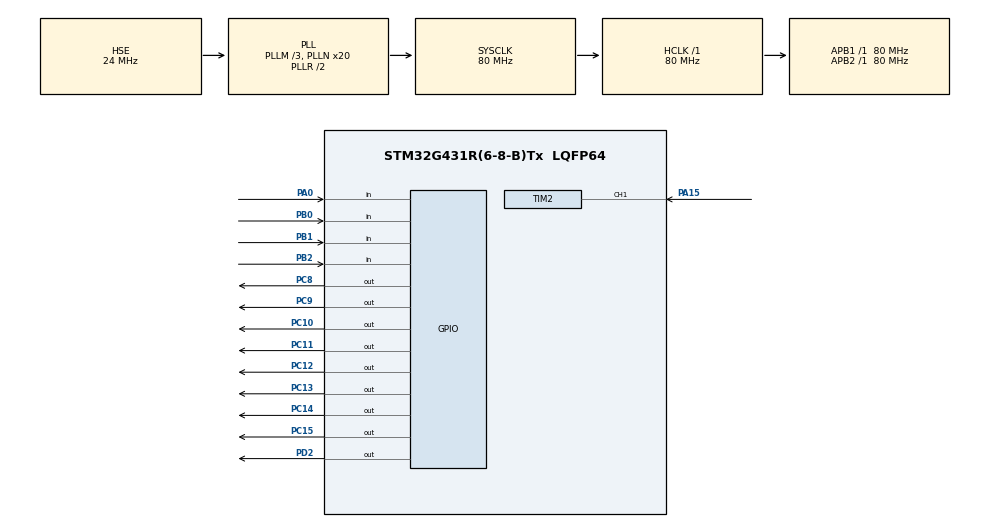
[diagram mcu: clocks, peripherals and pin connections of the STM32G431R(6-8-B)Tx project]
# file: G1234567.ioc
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Mcu.Family=STM32G4
Mcu.Name=STM32G431R(6-8-B)Tx
Mcu.Package=LQFP64
NVIC.PriorityGroup=NVIC_PRIORITYGROUP_4
NVIC.TIM1_TRG_COM_TIM17_IRQn=true\:0\:0\:false\:false\:true\:true\:true
NVIC.TIM2_IRQn=true\:0\:0\:false\:false\:true\:true\:true
PA0.Signal=GPIO_Input
PA15.Signal=S_TIM2_CH1
PB0.Signal=GPIO_Input
PB1.Signal=GPIO_Input
PB2.Signal=GPIO_Input
PC10.Signal=GPIO_Output
PC11.Signal=GPIO_Output
PC12.Signal=GPIO_Output
PC13.Signal=GPIO_Output
PC14-OSC32_IN.Signal=GPIO_Output
PC15-OSC32_OUT.Signal=GPIO_Output
PC8.Signal=GPIO_Output
PC9.Signal=GPIO_Output
PD2.Signal=GPIO_Output
PF0-OSC_IN.Mode=HSE-External-Oscillator
PF0-OSC_IN.Signal=RCC_OSC_IN
PF1-OSC_OUT.Mode=HSE-External-Oscillator
PF1-OSC_OUT.Signal=RCC_OSC_OUT
ProjectManager.HeapSize=0x200
ProjectManager.StackSize=0x400
ProjectManager.TargetToolchain=MDK-ARM V5.27
RCC.ADC12Freq_Value=80000000
RCC.AHBFreq_Value=80000000
RCC.APB1Freq_Value=80000000
RCC.APB1TimFreq_Value=80000000
RCC.APB2Freq_Value=80000000
RCC.APB2TimFreq_Value=80000000
RCC.CortexFreq_Value=80000000
RCC.EXTERNAL_CLOCK_VALUE=12288000
RCC.HCLKFreq_Value=80000000
RCC.HSE_VALUE=24000000
RCC.HSI48_VALUE=48000000
RCC.HSI_VALUE=16000000
RCC.LSE_VALUE=32768
RCC.PLLM=RCC_PLLM_DIV3
RCC.PLLN=20
RCC.PLLSourceVirtual=RCC_PLLSOURCE_HSE
RCC.SYSCLKFreq_VALUE=80000000
RCC.SYSCLKSource=RCC_SYSCLKSOURCE_PLLCLK
RCC.USBFreq_Value=80000000
RCC.VCOOutputFreq_Value=160000000
SH.S_TIM2_CH1.0=TIM2_CH1,Input_Capture1_from_TI1
SH.S_TIM2_CH1.1=TIM2_CH1,Input_Capture2_from_TI1
TIM17.PeriodNoDither=1000-1
TIM17.Prescaler=80-1
TIM2.Channel-Input_Capture1_from_TI1=TIM_CHANNEL_1
TIM2.Channel-Input_Capture2_from_TI1=TIM_CHANNEL_2
TIM2.ICPolarity_CH2=TIM_INPUTCHANNELPOLARITY_FALLING
TIM2.Prescaler=80-1
VP_SYS_VS_DBSignals.Mode=DisableDeadBatterySignals
VP_TIM17_VS_ClockSourceINT.Mode=Enable_Timer
VP_TIM2_VS_ClockSourceINT.Mode=Internal
board=custom

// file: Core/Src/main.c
/* USER CODE BEGIN Header */
/**
  ******************************************************************************
  * @file           : main.c
  * @brief          : Main program body
  ******************************************************************************
  * @attention
  *
  * <h2><center>&copy; Copyright (c) 2024 STMicroelectronics.
  * All rights reserved.</center></h2>
  *
  * This software component is licensed by ST under BSD 3-Clause license,
  * the "License"; You may not use this file except in compliance with the
  * License. You may obtain a copy of the License at:
  *                        opensource.org/licenses/BSD-3-Clause
  *
  ******************************************************************************
  */
/* USER CODE END Header */
#include "main.h"
#include "tim.h"
#include "gpio.h"

/* USER CODE BEGIN Includes */
#include "led.h"
#include "key.h"
#include "lcd.h"
#include "stdio.h"
/* USER CODE END Includes */

/* USER CODE BEGIN PTD */
uint8_t Key_Scan(void);
void Key_Proc(void);
/* USER CODE END PTD */

/* USER CODE BEGIN PV */
//Variables
signed char B1 = -1;
signed char B2 = -1;
signed char B3 = -1;

char KeyX[3] = {1,2,3};
char Kerror = 0;

int F = 2000;
int D = 10;

char Show_B1[20];
char Show_B2[20];
char Show_B3[20];

char Show_F[20];
char Show_D[20];

//Flags
char Show_Flag = 0; //LCD界面切换标志

//时间基准（TIM17 1ms 节拍，由中断写入 -> 需 volatile）
volatile uint32_t g_ms_tick = 0;

//按键事件（Key_Proc 写入，Data_Proc 消费）
uint8_t Pwd_OK_Event  = 0;
uint8_t Pwd_Err_Event = 0;

//LED 状态与输出信号（由 Data_Proc 管理）
uint32_t LD1_Start = 0;
uint8_t  LD1_Active = 0;
uint8_t  LD1_Out = 0;
uint32_t LD2_Start = 0;
uint8_t  LD2_Active = 0;
uint8_t  LD2_Out = 0;
/* USER CODE END PV */

void SystemClock_Config(void);
/* USER CODE BEGIN PFP */
void Var_Update(void);
void LCD_Proc(void);
void Key_Proc(void);
void Data_Proc(void);
void Led_Proc(void);
/* USER CODE END PFP */

int main(void)
{

  /* MCU Configuration--------------------------------------------------------*/

  /* Reset of all peripherals, Initializes the Flash interface and the Systick. */
  HAL_Init();

  /* Configure the system clock */
  SystemClock_Config();

  /* Initialize all configured peripherals */
  MX_GPIO_Init();
  MX_TIM2_Init();
  MX_TIM17_Init();
  /* USER CODE BEGIN 2 */
  HAL_TIM_Base_Start_IT(&htim17);
  /* USER CODE END 2 */

  /* Infinite loop */
  /* USER CODE BEGIN WHILE */
	LCD_Init();
	LCD_Clear(Black);
	LCD_SetBackColor(Black);
	LCD_SetTextColor(White);

	LED_Ctrl(LEDALL,OFF);
  while (1)
  {
		Var_Update();
		LCD_Proc();
		Key_Proc();
		Data_Proc();
		Led_Proc();
    /* USER CODE END WHILE */

  }
}

void SystemClock_Config(void)
{
  RCC_OscInitTypeDef RCC_OscInitStruct = {0};
  RCC_ClkInitTypeDef RCC_ClkInitStruct = {0};

  /** Configure the main internal regulator output voltage
  */
  HAL_PWREx_ControlVoltageScaling(PWR_REGULATOR_VOLTAGE_SCALE1);
  /** Initializes the RCC Oscillators according to the specified parameters
  * in the RCC_OscInitTypeDef structure.
  */
  RCC_OscInitStruct.OscillatorType = RCC_OSCILLATORTYPE_HSE;
  RCC_OscInitStruct.HSEState = RCC_HSE_ON;
  RCC_OscInitStruct.PLL.PLLState = RCC_PLL_ON;
  RCC_OscInitStruct.PLL.PLLSource = RCC_PLLSOURCE_HSE;
  RCC_OscInitStruct.PLL.PLLM = RCC_PLLM_DIV3;
  RCC_OscInitStruct.PLL.PLLN = 20;
  RCC_OscInitStruct.PLL.PLLP = RCC_PLLP_DIV2;
  RCC_OscInitStruct.PLL.PLLQ = RCC_PLLQ_DIV2;
  RCC_OscInitStruct.PLL.PLLR = RCC_PLLR_DIV2;
  if (HAL_RCC_OscConfig(&RCC_OscInitStruct) != HAL_OK)
  {
    Error_Handler();
  }
  /** Initializes the CPU, AHB and APB buses clocks
  */
  RCC_ClkInitStruct.ClockType = RCC_CLOCKTYPE_HCLK|RCC_CLOCKTYPE_SYSCLK
                              |RCC_CLOCKTYPE_PCLK1|RCC_CLOCKTYPE_PCLK2;
  RCC_ClkInitStruct.SYSCLKSource = RCC_SYSCLKSOURCE_PLLCLK;
  RCC_ClkInitStruct.AHBCLKDivider = RCC_SYSCLK_DIV1;
  RCC_ClkInitStruct.APB1CLKDivider = RCC_HCLK_DIV1;
  RCC_ClkInitStruct.APB2CLKDivider = RCC_HCLK_DIV1;

  if (HAL_RCC_ClockConfig(&RCC_ClkInitStruct, FLASH_LATENCY_2) != HAL_OK)
  {
    Error_Handler();
  }
}

/* USER CODE BEGIN 4 */
//Update Variables
void Var_Update(void)
{
	if(B1==-1){
		sprintf(Show_B1,"    B1:@              ");
	}else {
		sprintf(Show_B1,"    B1:%d             ", B1);
	}
	if(B2==-1){
		sprintf(Show_B2,"    B2:@              ");
	}else{
		sprintf(Show_B2,"    B2:%d             ", B2);
	}
	if(B3==-1){
		sprintf(Show_B3,"    B3:@              ");
	}else{
		sprintf(Show_B3,"    B3:%d             ", B3);
	}

	sprintf(Show_F,"    F:%dHz        ", F);
	sprintf(Show_D,"    D:%d%%         ", D);
}

//LCD processing function
void LCD_Proc(void)
{
	if(Show_Flag == 0){
		LCD_DisplayStringLine(Line1, (uint8_t *)"       PSD");
		LCD_DisplayStringLine(Line3, (uint8_t *)Show_B1);
		LCD_DisplayStringLine(Line5, (uint8_t *)Show_B2);
		LCD_DisplayStringLine(Line7, (uint8_t *)Show_B3);
	}else if(Show_Flag == 1){
		LCD_DisplayStringLine(Line1, (uint8_t *)"       STA");
		LCD_DisplayStringLine(Line3, (uint8_t *)Show_F);
		LCD_DisplayStringLine(Line5, (uint8_t *)Show_D);
		LCD_DisplayStringLine(Line7, (uint8_t *)"                    ");
	}
}

uint8_t Key_Scan(void)
{
	char key_value = 0;

	if(Press(KB1) == 0)	{	//key1
		HAL_Delay(2); //去抖
		if(Press(KB1) == 0){
			key_value = 1;
			while(Press(KB1) == 0);	//等待按键松开
		}
	}else	if(Press(KB2) == 0)	{ //key2
		HAL_Delay(2);
		if(Press(KB2) == 0){
			key_value = 2;
			while(Press(KB2) == 0);
		}
	}
	else	if(Press(KB3) == 0)	{	//key3
		HAL_Delay(2);
		if(Press(KB3) == 0){
			key_value = 3;
			while(Press(KB3) == 0);
		}
	}
	else	if(Press(KB4) == 0)	{	//key4
		HAL_Delay(2);
		if(Press(KB4) == 0){
			key_value = 4;
			while(Press(KB4) == 0);
		}
	}
	return key_value;
}

//Key processing function
//Key processing function
void Key_Proc(void)
{
	uint8_t cur_key = 0;

	cur_key = Key_Scan();

	switch(cur_key)
	{
		case 1:
			B1++;
		  B1%=10;
			break;
		case 2:
			B2++;
		  B2%=10;
			break;
		case 3:
			B3++;
		  B3%=10;
			break;
		case 4:
			if(KeyX[0]==B1&&KeyX[1]==B2&&KeyX[2]==B3){
				Show_Flag++;
				Pwd_OK_Event = 1;
			}
			else{
				B1=-1;
				B2=-1;
				B3=-1;
				Pwd_Err_Event = 1;
			}
			break;
		default:
			;
	}
}

//数据处理：消费事件 -> 驱动 LED 状态机 -> 输出信号
void Data_Proc(void)
{
	//1. 消费按键事件
	if(Pwd_OK_Event){
		Pwd_OK_Event = 0;
		LD1_Active = 1;
		LD1_Start = g_ms_tick;
	}
	if(Pwd_Err_Event){
		Pwd_Err_Event = 0;
		Kerror++;
		if(Kerror >= 3){
			LD2_Active = 1;
			LD2_Start = g_ms_tick;
		}
	}

	//2. 状态机 -> 输出信号
	if(LD1_Active){
		if(g_ms_tick - LD1_Start >= 5000){
			LD1_Active = 0; LD1_Out = 0;
		}else{
			LD1_Out = 1;
		}
	}
	if(LD2_Active){
		if(g_ms_tick - LD2_Start >= 5000){
			LD2_Active = 0; LD2_Out = 0;
		}else{
			LD2_Out = (g_ms_tick - LD2_Start) / 100 % 2;
		}
	}
}

//LED 输出：仅根据信号点灯灭灯
void Led_Proc(void)
{
	LED_Ctrl(LED1, LD1_Out ? ON : OFF);
	LED_Ctrl(LED2, LD2_Out ? ON : OFF);
}

//TIM17 1ms 中断回调：仅作时间源
void HAL_TIM_PeriodElapsedCallback(TIM_HandleTypeDef *htim)
{
	if(htim->Instance == TIM17){
		g_ms_tick++;
	}
}

/* USER CODE END 4 */

void Error_Handler(void)
{
  __disable_irq();
  while (1)
  {
  }
}

/************************ (C) COPYRIGHT STMicroelectronics *****END OF FILE****/
